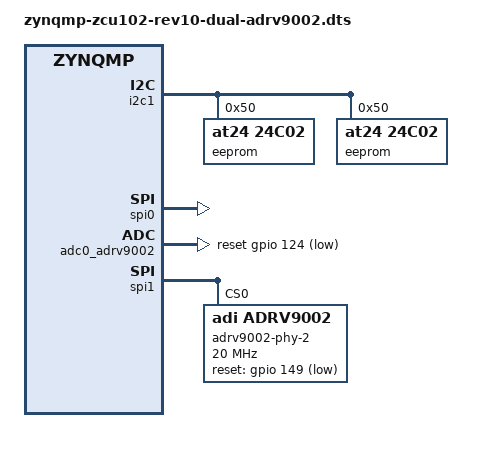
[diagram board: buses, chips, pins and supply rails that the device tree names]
// SPDX-License-Identifier: GPL-2.0
/*
 * Analog Devices ADRV9002
 *
 * hdl_project: <adrv9001/zcu102>
 * board_revision: <>
 *
 * Copyright (C) 2020 Analog Devices Inc.
 */
#include "zynqmp-zcu102-rev1.0.dts"
#include <dt-bindings/interrupt-controller/irq.h>
#include <dt-bindings/gpio/gpio.h>

&i2c1 {
	i2c-mux@75 {
		i2c@0 { /* HPC0 */
			#address-cells = <1>;
			#size-cells = <0>;
			reg = <0>;
			/* HPC0_IIC */
			eeprom@50 {
				compatible = "at24,24c02";
				reg = <0x50>;
			};
		};
		i2c@1 { /* HPC1 */
			#address-cells = <1>;
			#size-cells = <0>;
			reg = <1>;
			/* HPC1_IIC */
			eeprom@50 {
				compatible = "at24,24c02";
				reg = <0x50>;
			};
		};
	};
};

/ {
	fpga_axi  {
		interrupt-parent = <&gic>;
		compatible = "simple-bus";
		#address-cells = <0x1>;
		#size-cells = <0x1>;
		ranges = <0 0 0 0xffffffff>;

		rx1_dma: dma@84A30000 {
			compatible = "adi,axi-dmac-1.00.a";
			reg = <0x84A30000 0x10000>;
			#dma-cells = <1>;
			dma-coherent;
			interrupts = <0 111 IRQ_TYPE_LEVEL_HIGH>;
			clocks = <&zynqmp_clk 71>;
		};

		rx2_dma: dma@84A40000 {
			compatible = "adi,axi-dmac-1.00.a";
			reg = <0x84A40000 0x10000>;
			#dma-cells = <1>;
			dma-coherent;
			interrupts = <0 110 IRQ_TYPE_LEVEL_HIGH>;
			clocks = <&zynqmp_clk 71>;
		};

		tx1_dma: dma@84A50000 {
			compatible = "adi,axi-dmac-1.00.a";
			reg = <0x84A50000 0x10000>;
			#dma-cells = <1>;
			dma-coherent;
			interrupts = <0 109 IRQ_TYPE_LEVEL_HIGH>;
			clocks = <&zynqmp_clk 71>;
		};

		tx2_dma: dma@84A60000 {
			compatible = "adi,axi-dmac-1.00.a";
			reg = <0x84A60000 0x10000>;
			#dma-cells = <1>;
			dma-coherent;
			interrupts = <0 108 IRQ_TYPE_LEVEL_HIGH>;
			clocks = <&zynqmp_clk 71>;
		};

		axi_adrv9002_core_rx1: axi-adrv9002-rx-lpc@84A00000 {
			compatible = "adi,axi-adrv9002-rx-1.0";
			reg = <0x84A00000 0x6000>;
			clocks = <&adc0_adrv9002 0>;
			dmas = <&rx1_dma 0>;
			dma-names = "rx";
			spibus-connected = <&adc0_adrv9002>;
		};

		axi_adrv9002_core_tx1: axi-adrv9002-tx-lpc@84A0A000 {
			compatible = "adi,axi-adrv9002-tx-1.0";
			reg = <0x84A0A000 0x2000>;
			clocks = <&adc0_adrv9002 1>;
			clock-names = "sampl_clk";
			dmas = <&tx1_dma 0>;
			dma-names = "tx";
			adi,axi-dds-default-scale = <0x800>;
			adi,axi-dds-default-frequency = <2000000>;
		};

		axi_adrv9002_core_tdd1: axi-adrv9002-core-tdd1-lpc@84A0C800 {
			compatible = "adi,axi-tdd-1.00";
			reg = <0x84A0C800 0x400>;
			clocks = <&zynqmp_clk 71>, <&adc0_adrv9002 2>;
			clock-names = "s_axi_aclk", "intf_clk";
			label = "axi-core-tdd-1";
		};

		axi_adrv9002_core_rx2: axi-adrv9002-rx2-lpc@84A09000 {
			compatible = "adi,axi-adrv9002-rx2-1.0";
			reg = <0x84A09000 0x1000>;
			clocks = <&adc0_adrv9002 3>;
			clock-names = "sampl_clk";
			dmas = <&rx2_dma 0>;
			dma-names = "rx";
		};

		axi_adrv9002_core_tx2: axi-adrv9002-tx2-lpc@84A0C000 {
			compatible = "adi,axi-adrv9002-tx-1.0";
			reg = <0x84A0C000 0x2000>;
			clocks = <&adc0_adrv9002 4>;
			clock-names = "sampl_clk";
			dmas = <&tx2_dma 0>;
			dma-names = "tx";
			adi,axi-dds-default-scale = <0x800>;
			adi,axi-dds-default-frequency = <2000000>;
		};

		axi_adrv9002_core_tdd2: axi-adrv9002-core-tdd2-lpc@84A0CC00 {
			compatible = "adi,axi-tdd-1.00";
			reg = <0x84A0CC00 0x400>;
			clocks = <&zynqmp_clk 71>, <&adc0_adrv9002 5>;
			clock-names = "s_axi_aclk", "intf_clk";
			label = "axi-core-tdd-2";
		};

		axi_sysid_0: axi-sysid-0@85000000 {
			compatible = "adi,axi-sysid-1.00.a";
			reg = <0x85000000 0x10000>;
		};


		rx1_dma_2nd: dma@84A80000 {
			compatible = "adi,axi-dmac-1.00.a";
			reg = <0x84A80000 0x10000>;
			#dma-cells = <1>;
			dma-coherent;
			interrupts = <0 107 IRQ_TYPE_LEVEL_HIGH>;
			clocks = <&zynqmp_clk 71>;
		};

		rx2_dma_2nd: dma@84A90000 {
			compatible = "adi,axi-dmac-1.00.a";
			reg = <0x84A90000 0x10000>;
			#dma-cells = <1>;
			dma-coherent;
			interrupts = <0 106 IRQ_TYPE_LEVEL_HIGH>;
			clocks = <&zynqmp_clk 71>;
		};

		tx1_dma_2nd: dma@84AA0000 {
			compatible = "adi,axi-dmac-1.00.a";
			reg = <0x84AA0000 0x10000>;
			#dma-cells = <1>;
			dma-coherent;
			interrupts = <0 105 IRQ_TYPE_LEVEL_HIGH>;
			clocks = <&zynqmp_clk 71>;
		};

		tx2_dma_2nd: dma@84AB000 {
			compatible = "adi,axi-dmac-1.00.a";
			reg = <0x84AB0000 0x10000>;
			#dma-cells = <1>;
			dma-coherent;
			interrupts = <0 104 IRQ_TYPE_LEVEL_HIGH>;
			clocks = <&zynqmp_clk 71>;
		};

		axi_adrv9002_core_rx1_2nd: axi-adrv9002-rx-lpc-2nd@84A70000 {
			compatible = "adi,axi-adrv9002-rx-1.0";
			reg = <0x84A70000 0x6000>;
			clocks = <&adc1_adrv9002 0>;
			dmas = <&rx1_dma_2nd 0>;
			dma-names = "rx";
			spibus-connected = <&adc1_adrv9002>;
		};

		axi_adrv9002_core_tx1_2nd: axi-adrv9002-tx-lpc-2nd@84A7A000 {
			compatible = "adi,axi-adrv9002-tx-1.0";
			reg = <0x84A7A000 0x2000>;
			clocks = <&adc1_adrv9002 1>;
			clock-names = "sampl_clk";
			dmas = <&tx1_dma_2nd 0>;
			dma-names = "tx";
			adi,axi-dds-default-scale = <0x800>;
			adi,axi-dds-default-frequency = <2000000>;
		};

		axi_adrv9002_core_tdd1_2nd: axi-adrv9002-core-tdd1-lpc-2nd@84A7C800 {
			compatible = "adi,axi-tdd-1.00";
			reg = <0x84A7C800 0x400>;
			clocks = <&zynqmp_clk 71>, <&adc1_adrv9002 2>;
			clock-names = "s_axi_aclk", "intf_clk";
			label = "axi-core-tdd-1";
		};

		axi_adrv9002_core_rx2_2nd: axi-adrv9002-rx2-lpc-2nd@84A79000 {
			compatible = "adi,axi-adrv9002-rx2-1.0";
			reg = <0x84A79000 0x1000>;
			clocks = <&adc1_adrv9002 3>;
			clock-names = "sampl_clk";
			dmas = <&rx2_dma_2nd 0>;
			dma-names = "rx";
		};

		axi_adrv9002_core_tx2_2nd: axi-adrv9002-tx2-lpc-2nd@84A7C000 {
			compatible = "adi,axi-adrv9002-tx-1.0";
			reg = <0x84A7C000 0x2000>;
			clocks = <&adc1_adrv9002 4>;
			clock-names = "sampl_clk";
			dmas = <&tx2_dma_2nd 0>;
			dma-names = "tx";
			adi,axi-dds-default-scale = <0x800>;
			adi,axi-dds-default-frequency = <2000000>;
		};

		axi_adrv9002_core_tdd2_2nd: axi-adrv9002-core-tdd2-lpc-2nd@84A7CC00 {
			compatible = "adi,axi-tdd-1.00";
			reg = <0x84A7CC00 0x400>;
			clocks = <&zynqmp_clk 71>, <&adc1_adrv9002 5>;
			clock-names = "s_axi_aclk", "intf_clk";
			label = "axi-core-tdd-2";
		};
	};
};

&spi0 {
	status = "okay";
};

#define fmc_spi spi0

#include "adi-adrv9002.dtsi"

&adc0_adrv9002 {
	reset-gpios = <&gpio 124 GPIO_ACTIVE_LOW>;
};

&spi1 {
	status = "okay";

	adc1_adrv9002: adrv9002-phy-2nd@0 {
		label = "adrv9002-phy-2";
		compatible = "adi,adrv9002";
		reg = <0>;

//		H34 not connected on FMC1
//		interrupt-parent = <&gpio>;
//		interrupts = <122 IRQ_TYPE_EDGE_RISING>;

		spi-max-frequency = <20000000>;

		reset-gpios = <&gpio 149 GPIO_ACTIVE_LOW>;

		/* Clocks */
		clocks = <&adrv9002_clkin>;
		clock-names = "adrv9002_ext_refclk";
		clock-output-names = "rx1_sampl_clk", "tx1_sampl_clk", "tdd1_intf_clk",
				"rx2_sampl_clk", "tx2_sampl_clk", "tdd2_intf_clk";
		#clock-cells = <1>;

		adi,channels {
			#address-cells = <1>;
			#size-cells = <0>;

			rx@0 {
				reg = <0>;
				adi,port = <0>;
				orx-gpios = <&gpio 135 GPIO_ACTIVE_HIGH>; /* dgpio0 */
				enable-gpios = <&gpio 151 GPIO_ACTIVE_HIGH>;
			};

			rx@1 {
				reg = <1>;
				adi,port = <0>;
				orx-gpios = <&gpio 136 GPIO_ACTIVE_HIGH>; /* dgpio1 */
				enable-gpios = <&gpio 152 GPIO_ACTIVE_HIGH>;
			};

			tx@0 {
				reg = <0>;
				adi,port = <1>;
				adi,dpd;
				enable-gpios = <&gpio 153 GPIO_ACTIVE_HIGH>;
			};

			tx@1 {
				reg = <1>;
				adi,port = <1>;
				adi,dpd;
				enable-gpios = <&gpio 154 GPIO_ACTIVE_HIGH>;
			};

		};

		adi,gpios {
			#address-cells = <1>;
			#size-cells = <0>;

			gpio@0 {
				reg = <ADRV9002_DGPIO_0>;
				adi,signal = <ADRV9002_GPIO_SIGNAL_ORX_ENABLE_1>;
			};

			gpio@1 {
				reg = <ADRV9002_DGPIO_1>;
				adi,signal = <ADRV9002_GPIO_SIGNAL_ORX_ENABLE_2>;
			};
		};

		/* Frequency hopping properties */
		adi,frequency-hopping {
			adi,fh-mode = <ADRV9002_FH_LO_RETUNE_REALTIME_PROCESS_DUAL_HOP>;
			adi-fh-rx-zero-if-en;

			/* Depends on @adi,fh-mode being set to dual hop */
			adi,fh-hop-signal-2 {
				adi,fh-hop-rx-ports = <ADRV9002_RX_2>;
				adi,fh-hop-tx-ports = <ADRV9002_TX_2>;
			};
		};
	};
};
